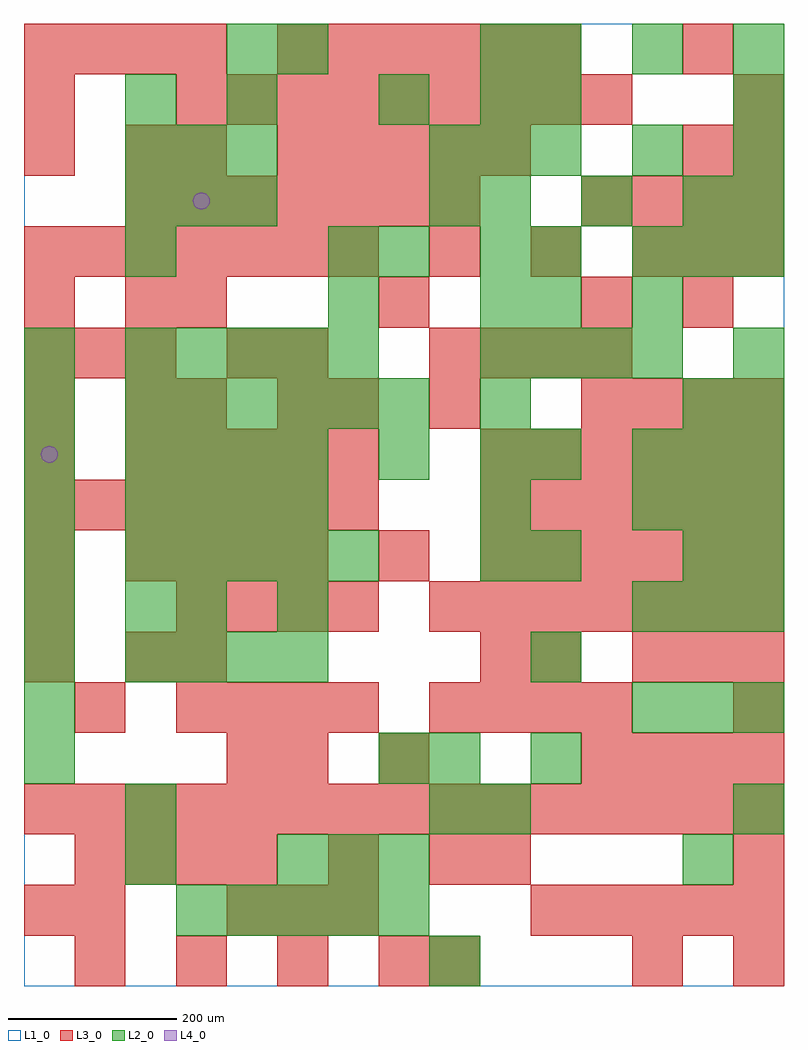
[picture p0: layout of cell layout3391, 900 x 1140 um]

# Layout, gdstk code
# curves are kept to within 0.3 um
import gdstk
lib = gdstk.Library(unit=1e-6, precision=1e-09)
def R(c, l, rs):  # rectangles x0, y0, x1, y1
    for r in rs: c.add(gdstk.rectangle(r[:2], r[2:], *l))
def A(c, l, x, y, w, h, nx, ny, dx, dy):  # array of equal rectangles
    R(c, l, [(x+i*dx, y+j*dy, x+i*dx+w, y+j*dy+h) for i in range(nx) for j in range(ny)])
def P(c, l, *ps):  # polygons
    for p in ps: c.add(gdstk.Polygon(p, *l))
L1_0 = (1, 0)
L2_0 = (2, 0)
L3_0 = (3, 0)
L4_0 = (4, 0)

layout3391 = lib.new_cell('layout3391')
R(layout3391, L1_0, [(0,0,900,1140)])
A(layout3391, L2_0, 180, 60, 60, 60, 5, 1, 60, 0)
A(layout3391, L2_0, 300, 120, 60, 60, 3, 1, 60, 0)
A(layout3391, L2_0, 0, 240, 60, 60, 1, 9, 0, 60)
A(layout3391, L2_0, 600, 240, 60, 60, 1, 4, 0, 120)
A(layout3391, L2_0, 720, 300, 60, 60, 3, 3, 60, 120)
A(layout3391, L2_0, 120, 360, 60, 60, 4, 2, 60, 180)
A(layout3391, L2_0, 120, 480, 60, 60, 5, 2, 60, 240)
A(layout3391, L2_0, 540, 480, 60, 60, 1, 4, 0, 60)
A(layout3391, L2_0, 120, 600, 60, 60, 4, 1, 60, 0)
A(layout3391, L2_0, 720, 600, 60, 60, 3, 2, 60, 240)
A(layout3391, L2_0, 120, 660, 60, 60, 6, 1, 60, 0)
A(layout3391, L2_0, 540, 720, 60, 60, 4, 1, 60, 0)
A(layout3391, L2_0, 120, 900, 60, 60, 3, 2, 60, 60)
A(layout3391, L2_0, 540, 900, 60, 60, 3, 1, 120, 0)
A(layout3391, L2_0, 840, 900, 60, 60, 1, 3, 0, 60)
A(layout3391, L2_0, 480, 960, 60, 60, 3, 1, 60, 0)
A(layout3391, L2_0, 600, 1080, 60, 60, 3, 1, 120, 0)
R(layout3391, L2_0, [(480,0,540,60), (120,120,180,180), (780,120,840,180), (120,180,180,240), (480,180,540,240), (540,180,600,240), (840,180,900,240), (420,240,480,300), (480,240,540,300), (120,420,180,480), (180,420,240,480), (300,420,360,480), (780,480,840,540), (840,480,900,540), (420,600,480,660), (780,660,840,720), (840,660,900,720), (840,720,900,780), (360,780,420,840), (540,780,600,840), (600,780,660,840), (720,780,780,840), (120,840,180,900), (360,840,420,900), (420,840,480,900), (540,840,600,900), (600,840,660,900), (480,900,540,960), (720,960,780,1020), (120,1020,180,1080), (240,1020,300,1080), (420,1020,480,1080), (540,1020,600,1080), (600,1020,660,1080), (240,1080,300,1140), (300,1080,360,1140), (540,1080,600,1140)])
A(layout3391, L3_0, 60, 0, 60, 60, 4, 1, 120, 0)
A(layout3391, L3_0, 240, 60, 60, 60, 3, 1, 60, 0)
A(layout3391, L3_0, 600, 60, 60, 60, 5, 1, 60, 0)
A(layout3391, L3_0, 60, 120, 60, 60, 4, 1, 60, 0)
A(layout3391, L3_0, 0, 180, 60, 60, 15, 1, 60, 0)
A(layout3391, L3_0, 660, 240, 60, 60, 4, 2, 60, 420)
A(layout3391, L3_0, 180, 300, 60, 60, 4, 2, 60, 120)
A(layout3391, L3_0, 480, 300, 60, 60, 4, 2, 60, 420)
A(layout3391, L3_0, 0, 360, 60, 60, 1, 3, 0, 60)
A(layout3391, L3_0, 180, 360, 60, 60, 1, 3, 0, 300)
A(layout3391, L3_0, 720, 360, 60, 60, 3, 1, 60, 0)
A(layout3391, L3_0, 480, 420, 60, 60, 7, 1, 60, 0)
A(layout3391, L3_0, 120, 480, 60, 60, 4, 1, 60, 0)
A(layout3391, L3_0, 540, 480, 60, 60, 6, 3, 60, 60)
A(layout3391, L3_0, 0, 540, 60, 60, 7, 2, 60, 300)
A(layout3391, L3_0, 120, 600, 60, 60, 5, 1, 60, 0)
A(layout3391, L3_0, 0, 720, 60, 60, 3, 1, 60, 0)
A(layout3391, L3_0, 180, 780, 60, 60, 3, 1, 240, 0)
A(layout3391, L3_0, 480, 840, 60, 60, 3, 1, 120, 0)
A(layout3391, L3_0, 780, 840, 60, 60, 1, 3, 0, 120)
A(layout3391, L3_0, 120, 900, 60, 60, 7, 1, 60, 0)
A(layout3391, L3_0, 660, 900, 60, 60, 4, 1, 60, 0)
A(layout3391, L3_0, 300, 960, 60, 60, 5, 1, 60, 0)
A(layout3391, L3_0, 180, 1020, 60, 60, 9, 1, 60, 0)
A(layout3391, L3_0, 0, 1080, 60, 60, 4, 1, 60, 0)
A(layout3391, L3_0, 300, 1080, 60, 60, 6, 1, 60, 0)
R(layout3391, L3_0, [(480,0,540,60), (720,0,780,60), (840,0,900,60), (0,60,60,120), (60,60,120,120), (360,120,420,180), (480,120,540,180), (540,120,600,180), (840,120,900,180), (240,240,300,300), (300,240,360,300), (420,240,480,300), (60,300,120,360), (840,300,900,360), (120,360,180,420), (540,360,600,420), (600,360,660,420), (420,480,480,540), (0,600,60,660), (0,660,60,720), (120,660,180,720), (300,660,360,720), (360,660,420,720), (480,660,540,720), (240,720,300,780), (300,720,360,780), (0,780,60,840), (120,780,180,840), (780,780,840,840), (840,840,900,900), (0,960,60,1020), (120,960,180,1020), (840,960,900,1020), (0,1020,60,1080), (840,1020,900,1080)])
P(layout3391, L4_0, [(40,630),(39.239,633.827),(37.071,637.071),(33.827,639.239),(30,640),(26.173,639.239),(22.929,637.071),(20.761,633.827),(20,630),(20.761,626.173),(22.929,622.929),(26.173,620.761),(30,620),(33.827,620.761),(37.071,622.929),(39.239,626.173)],
  [(220,930),(219.239,933.827),(217.071,937.071),(213.827,939.239),(210,940),(206.173,939.239),(202.929,937.071),(200.761,933.827),(200,930),(200.761,926.173),(202.929,922.929),(206.173,920.761),(210,920),(213.827,920.761),(217.071,922.929),(219.239,926.173)])

lib.write_gds('layout3391.gds')
